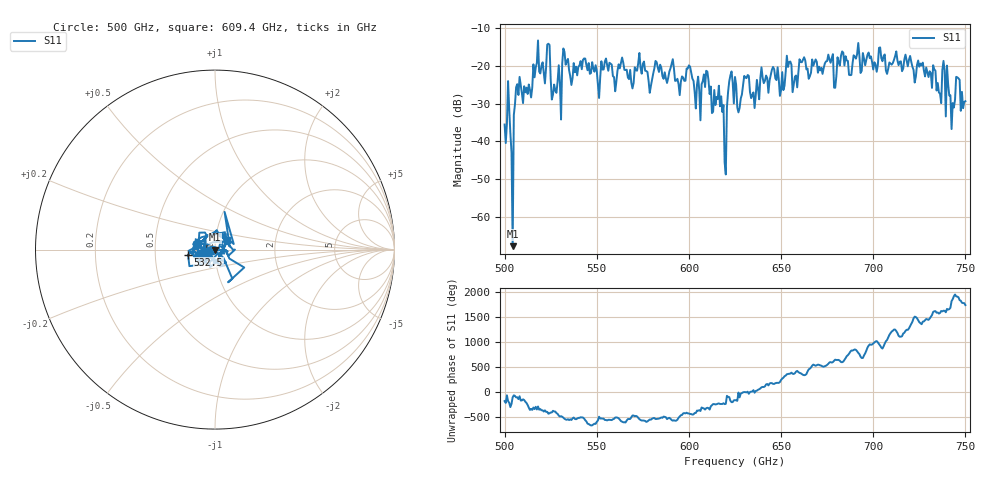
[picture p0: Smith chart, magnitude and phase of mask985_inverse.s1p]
!Created with skrf (http://scikit-rf.org).
# GHz S MA R 50.0
!freq magS11 angS11
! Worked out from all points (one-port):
!   401 points, 500 GHz to 750 GHz, reference 50 ohm
!   lowest |S11| = -67.8 dB at 504.4 GHz (marker M1), VSWR 1.00, Z = 50 - j0.0402 ohm
!   |S11| at or under -10 dB: start of sweep to end of sweep
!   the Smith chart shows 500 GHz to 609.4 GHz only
!   S11 on the Smith chart (normalised r, x): 500 GHz: 0.97, -0.00; 532.5 GHz: 0.74, -0.04; 609.4 GHz: 1.13, +0.13
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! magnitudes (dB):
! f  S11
! 500 GHz  -35.5
! 502.5 GHz  -31.5
! 504.4 GHz  -67.8
! 507.5 GHz  -27.7
! 513.8 GHz  -26.3
! 516.9 GHz  -20.5
! 523.8 GHz  -14.1
! 526.9 GHz  -25.0
! 531.2 GHz  -19.4
! 532.5 GHz  -16.3
! 550.6 GHz  -25.1
! 562.5 GHz  -20.7
! 579.4 GHz  -25.3
! 590.6 GHz  -19.5
! 593.8 GHz  -23.4
! 600 GHz  -19.9
! 605 GHz  -22.9
! 609.4 GHz  -21.3
! 617.5 GHz  -28.1
! 619.4 GHz  -45.6
! 622.5 GHz  -22.5
! 625 GHz  -23.0
! 656.2 GHz  -27.0
! 661.2 GHz  -19.1
! 687.5 GHz  -22.5
! 690.6 GHz  -18.1
! 718.8 GHz  -20.1
! 750 GHz  -29.4
